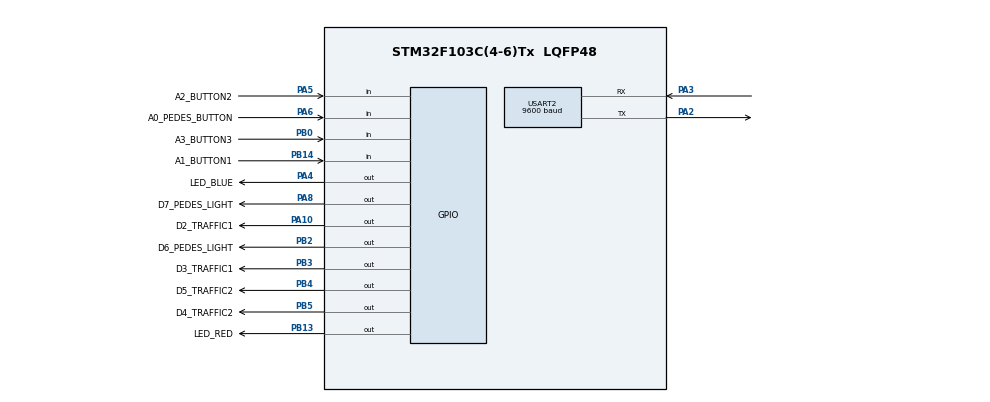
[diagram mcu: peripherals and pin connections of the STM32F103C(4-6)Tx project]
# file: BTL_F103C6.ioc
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Mcu.Family=STM32F1
Mcu.Name=STM32F103C(4-6)Tx
Mcu.Package=LQFP48
<<<<<<< HEAD
=======
>>>>>>> 906bd82a3581f7b670db585618f455e211a3e553
NVIC.PriorityGroup=NVIC_PRIORITYGROUP_4
NVIC.TIM2_IRQn=true\:0\:0\:false\:false\:true\:true\:true
NVIC.USART2_IRQn=true\:0\:0\:false\:false\:true\:true\:true
PA10.GPIO_Label=D2_TRAFFIC1
PA10.Signal=GPIO_Output
PA13.Mode=Serial_Wire
PA13.Signal=SYS_JTMS-SWDIO
PA14.Mode=Serial_Wire
PA14.Signal=SYS_JTCK-SWCLK
PA2.Mode=Asynchronous
PA2.Signal=USART2_TX
PA3.Mode=Asynchronous
PA3.Signal=USART2_RX
PA4.GPIO_Label=LED_BLUE
PA4.Signal=GPIO_Output
PA5.GPIO_Label=A2_BUTTON2
PA5.GPIO_PuPd=GPIO_PULLUP
PA5.Signal=GPIO_Input
PA6.GPIO_Label=A0_PEDES_BUTTON
PA6.GPIO_PuPd=GPIO_PULLUP
PA6.Signal=GPIO_Input
PA8.GPIO_Label=D7_PEDES_LIGHT
PA8.Signal=GPIO_Output
PB0.GPIO_Label=A3_BUTTON3
PB0.GPIO_PuPd=GPIO_PULLUP
PB0.Signal=GPIO_Input
PB13.GPIO_Label=LED_RED
PB13.Signal=GPIO_Output
PB14.GPIO_Label=A1_BUTTON1
PB14.GPIO_PuPd=GPIO_PULLUP
PB14.Signal=GPIO_Input
PB2.GPIO_Label=D6_PEDES_LIGHT
PB2.Signal=GPIO_Output
PB3.GPIO_Label=D3_TRAFFIC1
PB3.Signal=GPIO_Output
PB4.GPIO_Label=D5_TRAFFIC2
PB4.Signal=GPIO_Output
PB5.GPIO_Label=D4_TRAFFIC2
PB5.Signal=GPIO_Output
ProjectManager.HeapSize=0x200
ProjectManager.StackSize=0x400
ProjectManager.TargetToolchain=STM32CubeIDE
RCC.APB1Freq_Value=8000000
RCC.APB2Freq_Value=8000000
TIM2.Period=9999
TIM2.Prescaler=7
USART2.BaudRate=9600
USART2.VirtualMode=VM_ASYNC
VP_TIM2_VS_ClockSourceINT.Mode=Internal
board=custom

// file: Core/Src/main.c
/* USER CODE BEGIN Header */
/**
  ******************************************************************************
  * @file           : main.c
  * @brief          : Main program body
  ******************************************************************************
  * @attention
  *
  * <h2><center>&copy; Copyright (c) 2022 STMicroelectronics.
  * All rights reserved.</center></h2>
  *
  * This software component is licensed by ST under BSD 3-Clause license,
  * the "License"; You may not use this file except in compliance with the
  * License. You may obtain a copy of the License at:
  *                        opensource.org/licenses/BSD-3-Clause
  *
  ******************************************************************************
  */
/* USER CODE END Header */
#include "main.h"
#include <stdio.h>
/* USER CODE BEGIN Includes */
#include "button.h"
#include "control_7SEG.h"
#include "fsm_7SEG_horizontal.h"
#include "fsm_7SEG_vertical.h"
#include "fsm_system.h"
#include "fsm_traffic_horizontal.h"
#include "fsm_traffic_vertical.h"
#include "global.h"
#include "traffic.h"
#include "software_timer.h"
#include "fsm_pedestrian.h"
#include "fsm_mannual.h"
#include "buzzer.h"

/* USER CODE END Includes */

TIM_HandleTypeDef htim2;

UART_HandleTypeDef huart2;

void SystemClock_Config(void);
static void MX_GPIO_Init(void);
static void MX_TIM2_Init(void);
static void MX_USART2_UART_Init(void);

int main(void)
{

  /* MCU Configuration--------------------------------------------------------*/

  /* Reset of all peripherals, Initializes the Flash interface and the Systick. */
  HAL_Init();

  /* Configure the system clock */
  SystemClock_Config();

  /* Initialize all configured peripherals */
  MX_GPIO_Init();
  MX_TIM2_Init();
  MX_USART2_UART_Init();
  /* USER CODE BEGIN 2 */
  HAL_TIM_Base_Start_IT(&htim2);
//  HAL_TIM_PWM_Start(&htim2, TIM_CHANNEL_1);
  /* USER CODE END 2 */

  /* Infinite loop */
  /* USER CODE BEGIN WHILE */
  	setTimer4(10);
    setTimer6(10);
    setTimer7(500);// toggle led-red/green/yellow vertical road 2Hz while modifying time of it
    setTimer8(500);// toggle led-red/green/yellow horizontal road 2Hz while modifying time of it
    setTimer10(500);// timer blink led-red for debugging
    setTimer32(10);
    setTimer34(10);
    while (1)
    {
    /* USER CODE END WHILE */

    /* USER CODE BEGIN 3 */
  //	  __HAL_TIM_SetCompare(&htim3,TIM_CHANNEL_3,i);

  	  //blink led-red for debugging
  	  if(timer10_flag == 1){
  		  toggleLedRed();
  		  setTimer10(1000);
  	  }

  	  fsm_system_run();
  	  fsm_7SEG_horizontal_run();
  	  fsm_7SEG_vertical_run();
  	  fsm_traffic_vertical_run();
  	  fsm_traffic_horizontal_run();
  	  ///add function
  	  fsm_pedestrian_run();
  	  FSM_Buzzer();

    }
  /* USER CODE END 3 */
}

void SystemClock_Config(void)
{
  RCC_OscInitTypeDef RCC_OscInitStruct = {0};
  RCC_ClkInitTypeDef RCC_ClkInitStruct = {0};

  /** Initializes the RCC Oscillators according to the specified parameters
  * in the RCC_OscInitTypeDef structure.
  */
  RCC_OscInitStruct.OscillatorType = RCC_OSCILLATORTYPE_HSI;
  RCC_OscInitStruct.HSIState = RCC_HSI_ON;
  RCC_OscInitStruct.HSICalibrationValue = RCC_HSICALIBRATION_DEFAULT;
  RCC_OscInitStruct.PLL.PLLState = RCC_PLL_NONE;
  if (HAL_RCC_OscConfig(&RCC_OscInitStruct) != HAL_OK)
  {
    Error_Handler();
  }
  /** Initializes the CPU, AHB and APB buses clocks
  */
  RCC_ClkInitStruct.ClockType = RCC_CLOCKTYPE_HCLK|RCC_CLOCKTYPE_SYSCLK
                              |RCC_CLOCKTYPE_PCLK1|RCC_CLOCKTYPE_PCLK2;
  RCC_ClkInitStruct.SYSCLKSource = RCC_SYSCLKSOURCE_HSI;
  RCC_ClkInitStruct.AHBCLKDivider = RCC_SYSCLK_DIV1;
  RCC_ClkInitStruct.APB1CLKDivider = RCC_HCLK_DIV1;
  RCC_ClkInitStruct.APB2CLKDivider = RCC_HCLK_DIV1;

  if (HAL_RCC_ClockConfig(&RCC_ClkInitStruct, FLASH_LATENCY_0) != HAL_OK)
  {
    Error_Handler();
  }
}

static void MX_TIM2_Init(void)
{

  TIM_ClockConfigTypeDef sClockSourceConfig = {0};
  TIM_MasterConfigTypeDef sMasterConfig = {0};

  htim2.Instance = TIM2;
  htim2.Init.Prescaler = 7;
  htim2.Init.CounterMode = TIM_COUNTERMODE_UP;
  htim2.Init.Period = 9999;
  htim2.Init.ClockDivision = TIM_CLOCKDIVISION_DIV1;
  htim2.Init.AutoReloadPreload = TIM_AUTORELOAD_PRELOAD_DISABLE;
  if (HAL_TIM_Base_Init(&htim2) != HAL_OK)
  {
    Error_Handler();
  }
  sClockSourceConfig.ClockSource = TIM_CLOCKSOURCE_INTERNAL;
  if (HAL_TIM_ConfigClockSource(&htim2, &sClockSourceConfig) != HAL_OK)
  {
    Error_Handler();
  }
  sMasterConfig.MasterOutputTrigger = TIM_TRGO_RESET;
  sMasterConfig.MasterSlaveMode = TIM_MASTERSLAVEMODE_DISABLE;
  if (HAL_TIMEx_MasterConfigSynchronization(&htim2, &sMasterConfig) != HAL_OK)
  {
    Error_Handler();
  }

}

static void MX_USART2_UART_Init(void)
{

  huart2.Instance = USART2;
  huart2.Init.BaudRate = 9600;
  huart2.Init.WordLength = UART_WORDLENGTH_8B;
  huart2.Init.StopBits = UART_STOPBITS_1;
  huart2.Init.Parity = UART_PARITY_NONE;
  huart2.Init.Mode = UART_MODE_TX_RX;
  huart2.Init.HwFlowCtl = UART_HWCONTROL_NONE;
  huart2.Init.OverSampling = UART_OVERSAMPLING_16;
  if (HAL_UART_Init(&huart2) != HAL_OK)
  {
    Error_Handler();
  }

}

static void MX_GPIO_Init(void)
{
  GPIO_InitTypeDef GPIO_InitStruct = {0};

  /* GPIO Ports Clock Enable */
  __HAL_RCC_GPIOA_CLK_ENABLE();
  __HAL_RCC_GPIOB_CLK_ENABLE();

  /*Configure GPIO pin Output Level */
  HAL_GPIO_WritePin(GPIOA, LED_BLUE_Pin|D7_PEDES_LIGHT_Pin|D2_TRAFFIC1_Pin, GPIO_PIN_RESET);

  /*Configure GPIO pin Output Level */
  HAL_GPIO_WritePin(GPIOB, D6_PEDES_LIGHT_Pin|LED_RED_Pin|D3_TRAFFIC1_Pin|D5_TRAFFIC2_Pin
                          |D4_TRAFFIC2_Pin, GPIO_PIN_RESET);

  /*Configure GPIO pins : LED_BLUE_Pin D7_PEDES_LIGHT_Pin D2_TRAFFIC1_Pin */
  GPIO_InitStruct.Pin = LED_BLUE_Pin|D7_PEDES_LIGHT_Pin|D2_TRAFFIC1_Pin;
  GPIO_InitStruct.Mode = GPIO_MODE_OUTPUT_PP;
  GPIO_InitStruct.Pull = GPIO_NOPULL;
  GPIO_InitStruct.Speed = GPIO_SPEED_FREQ_LOW;
  HAL_GPIO_Init(GPIOA, &GPIO_InitStruct);

  /*Configure GPIO pins : A2_BUTTON2_Pin A0_PEDES_BUTTON_Pin */
  GPIO_InitStruct.Pin = A2_BUTTON2_Pin|A0_PEDES_BUTTON_Pin;
  GPIO_InitStruct.Mode = GPIO_MODE_INPUT;
  GPIO_InitStruct.Pull = GPIO_PULLUP;
  HAL_GPIO_Init(GPIOA, &GPIO_InitStruct);

  /*Configure GPIO pins : A3_BUTTON3_Pin A1_BUTTON1_Pin */
  GPIO_InitStruct.Pin = A3_BUTTON3_Pin|A1_BUTTON1_Pin;
  GPIO_InitStruct.Mode = GPIO_MODE_INPUT;
  GPIO_InitStruct.Pull = GPIO_PULLUP;
  HAL_GPIO_Init(GPIOB, &GPIO_InitStruct);

  /*Configure GPIO pins : D6_PEDES_LIGHT_Pin LED_RED_Pin D3_TRAFFIC1_Pin D5_TRAFFIC2_Pin
                           D4_TRAFFIC2_Pin */
  GPIO_InitStruct.Pin = D6_PEDES_LIGHT_Pin|LED_RED_Pin|D3_TRAFFIC1_Pin|D5_TRAFFIC2_Pin
                          |D4_TRAFFIC2_Pin;
  GPIO_InitStruct.Mode = GPIO_MODE_OUTPUT_PP;
  GPIO_InitStruct.Pull = GPIO_NOPULL;
  GPIO_InitStruct.Speed = GPIO_SPEED_FREQ_LOW;
  HAL_GPIO_Init(GPIOB, &GPIO_InitStruct);

}

/* USER CODE BEGIN 4 */
void HAL_TIM_PeriodElapsedCallback(TIM_HandleTypeDef * htim)
{
	timerRun();
	getKeyInput();
}
/* USER CODE END 4 */

void Error_Handler(void)
{
  __disable_irq();
  while (1)
  {
  }
}

/************************ (C) COPYRIGHT STMicroelectronics *****END OF FILE****/
